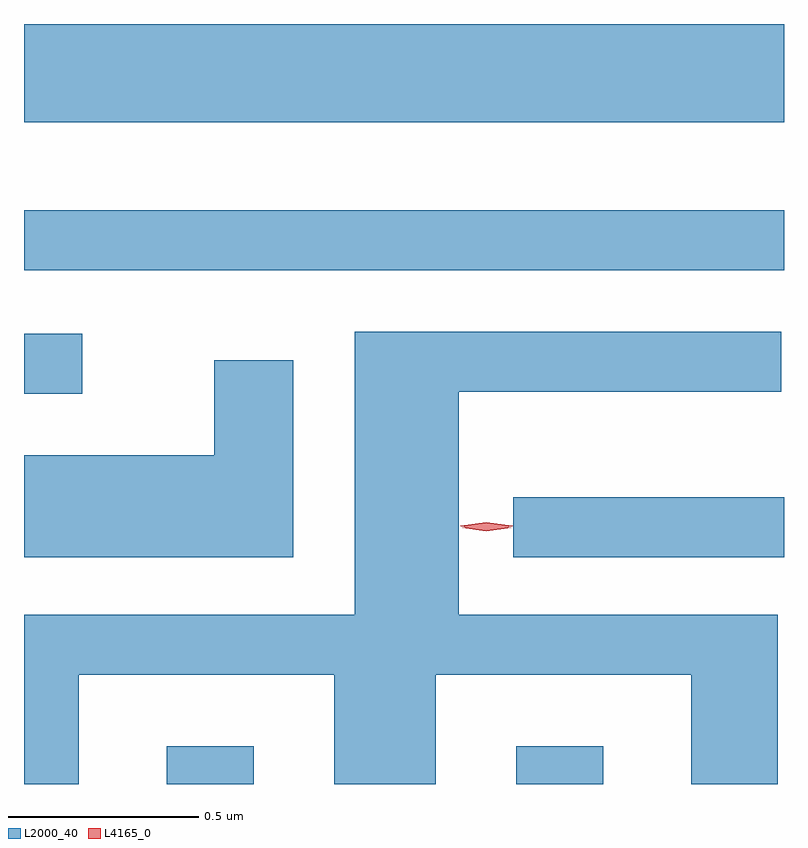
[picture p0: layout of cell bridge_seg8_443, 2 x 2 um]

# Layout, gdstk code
import gdstk
lib = gdstk.Library(unit=1e-6, precision=1e-09)
def R(c, l, rs):  # rectangles x0, y0, x1, y1
    for r in rs: c.add(gdstk.rectangle(r[:2], r[2:], *l))
def P(c, l, *ps):  # polygons
    for p in ps: c.add(gdstk.Polygon(p, *l))
L2000_40 = (2000, 40)
L4165_0 = (4165, 0)

bridge_seg8_443 = lib.new_cell('bridge_seg8_443')
R(bridge_seg8_443, L2000_40, [(982.181,1845.774,982.409,1845.874), (983.101,1845.774,983.329,1845.874), (983.093,1846.371,983.805,1846.529), (981.805,1846.801,981.958,1846.959), (981.805,1847.126,983.805,1847.284), (981.805,1847.516,983.805,1847.774)])
P(bridge_seg8_443, L2000_40, [(981.949,1846.061),(982.621,1846.061),(982.621,1845.774),(982.889,1845.774),(982.889,1846.061),(983.561,1846.061),(983.561,1845.774),(983.789,1845.774),(983.789,1846.219),(982.949,1846.219),(982.949,1846.806),(983.798,1846.806),(983.798,1846.964),(982.676,1846.964),(982.676,1846.219),(981.805,1846.219),(981.805,1845.774),(981.949,1845.774)],
  [(982.514,1846.889),(982.306,1846.889),(982.306,1846.639),(981.805,1846.639),(981.805,1846.371),(982.514,1846.371)])
P(bridge_seg8_443, L4165_0, [(983.022,1846.443),(982.954,1846.452),(982.953,1846.453),(982.954,1846.453),(983.022,1846.463),(983.09,1846.453),(983.091,1846.453),(983.09,1846.452)],
  [(983.022,1846.439),(982.958,1846.448),(982.957,1846.449),(982.958,1846.449),(983.022,1846.459),(983.087,1846.449),(983.087,1846.449),(983.087,1846.448)])

lib.write_gds('bridge_seg8_443.gds')
